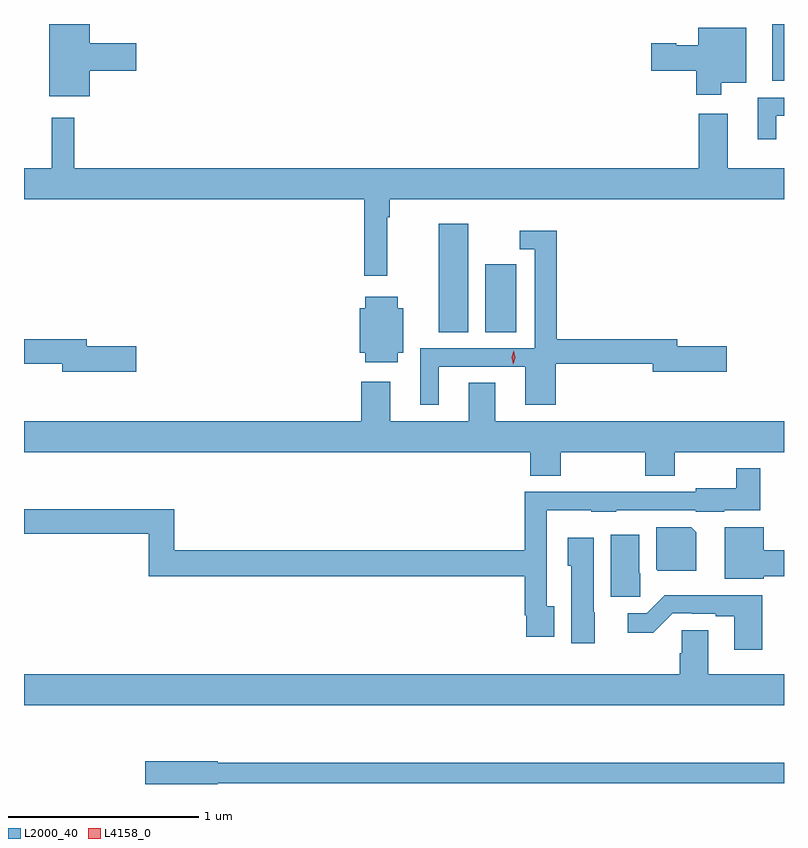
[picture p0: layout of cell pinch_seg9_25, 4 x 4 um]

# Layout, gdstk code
import gdstk
lib = gdstk.Library(unit=1e-6, precision=1e-09)
def R(c, l, rs):  # rectangles x0, y0, x1, y1
    for r in rs: c.add(gdstk.rectangle(r[:2], r[2:], *l))
def P(c, l, *ps):  # polygons
    for p in ps: c.add(gdstk.Polygon(p, *l))
L2000_40 = (2000, 40)
L4158_0 = (4158, 0)

pinch_seg9_25 = lib.new_cell('pinch_seg9_25')
R(pinch_seg9_25, L2000_40, [(939.221,1227.688,939.376,1228.258), (939.464,1227.688,939.628,1228.045), (940.976,1229.012,941.037,1229.31)])
P(pinch_seg9_25, L2000_40, [(937.384,1229.063),(937.627,1229.063),(937.627,1229.21),(937.384,1229.21),(937.384,1229.31),(937.169,1229.31),(937.169,1228.931),(937.384,1228.931)],
  [(940.708,1229),(940.837,1229),(940.837,1229.29),(940.586,1229.29),(940.586,1229.197),(940.47,1229.197),(940.47,1229.21),(940.338,1229.21),(940.338,1229.063),(940.574,1229.063),(940.574,1228.938),(940.708,1228.938)],
  [(940.996,1228.827),(941.037,1228.827),(941.037,1228.923),(940.898,1228.923),(940.898,1228.704),(940.996,1228.704)],
  [(938.948,1228.292),(938.963,1228.292),(938.963,1228.388),(941.037,1228.388),(941.037,1228.552),(940.741,1228.552),(940.741,1228.837),(940.589,1228.837),(940.589,1228.552),(937.301,1228.552),(937.301,1228.816),(937.184,1228.816),(937.184,1228.552),(937.037,1228.552),(937.037,1228.388),(938.827,1228.388),(938.827,1227.984),(938.948,1227.984)],
  [(939.22,1227.507),(939.674,1227.507),(939.674,1227.306),(939.836,1227.306),(939.836,1227.522),(940.346,1227.522),(940.346,1227.479),(940.735,1227.479),(940.735,1227.614),(940.474,1227.614),(940.474,1227.65),(939.842,1227.65),(939.842,1228.222),(939.645,1228.222),(939.645,1228.125),(939.726,1228.125),(939.726,1227.603),(939.122,1227.603),(939.122,1227.306),(939.22,1227.306)],
  [(939.004,1227.581),(939.034,1227.581),(939.034,1227.814),(939.004,1227.814),(939.004,1227.874),(938.834,1227.874),(938.834,1227.814),(938.804,1227.814),(938.804,1227.581),(938.834,1227.581),(938.834,1227.53),(939.004,1227.53)],
  [(937.627,1227.614),(937.366,1227.614),(937.366,1227.65),(937.037,1227.65),(937.037,1227.522),(937.238,1227.522),(937.238,1227.479),(937.627,1227.479)],
  [(939.861,1227.056),(940.306,1227.056),(940.306,1226.932),(940.461,1226.932),(940.461,1227.056),(941.037,1227.056),(941.037,1227.22),(939.517,1227.22),(939.517,1227.422),(939.377,1227.422),(939.377,1227.22),(938.965,1227.22),(938.965,1227.427),(938.813,1227.427),(938.813,1227.22),(937.037,1227.22),(937.037,1227.056),(939.701,1227.056),(939.701,1226.932),(939.861,1226.932)],
  [(939.829,1226.246),(939.789,1226.246),(939.789,1226.75),(940.023,1226.75),(940.023,1226.744),(940.155,1226.744),(940.155,1226.751),(940.572,1226.751),(940.572,1226.744),(940.722,1226.744),(940.722,1226.75),(940.913,1226.75),(940.913,1226.971),(940.785,1226.971),(940.785,1226.866),(940.572,1226.866),(940.572,1226.847),(940.155,1226.847),(940.155,1226.849),(939.923,1226.849),(939.923,1226.847),(939.673,1226.847),(939.673,1226.54),(937.829,1226.54),(937.829,1226.755),(937.037,1226.755),(937.037,1226.626),(937.693,1226.626),(937.693,1226.404),(939.673,1226.404),(939.673,1226.197),(939.681,1226.197),(939.681,1226.085),(939.829,1226.085)],
  [(940.576,1226.636),(940.55,1226.662),(940.364,1226.662),(940.364,1226.44),(940.372,1226.432),(940.576,1226.432)],
  [(940.93,1226.404),(941.037,1226.404),(941.037,1226.54),(940.93,1226.54),(940.93,1226.662),(940.724,1226.662),(940.724,1226.39),(940.93,1226.39)],
  [(940.28,1226.418),(940.276,1226.418),(940.276,1226.623),(940.124,1226.623),(940.124,1226.295),(940.28,1226.295)],
  [(940.042,1226.214),(940.036,1226.214),(940.036,1226.605),(939.899,1226.605),(939.899,1226.46),(939.917,1226.46),(939.917,1226.052),(940.042,1226.052)],
  [(940.923,1226.303),(940.409,1226.303),(940.314,1226.208),(940.215,1226.208),(940.215,1226.106),(940.35,1226.106),(940.452,1226.208),(940.552,1226.208),(940.552,1226.205),(940.679,1226.205),(940.679,1226.193),(940.775,1226.193),(940.775,1226.016),(940.923,1226.016)],
  [(941.037,1225.888),(940.639,1225.888),(940.639,1226.12),(940.5,1226.12),(940.5,1225.998),(940.487,1225.998),(940.487,1225.888),(937.037,1225.888),(937.037,1225.724),(941.037,1225.724)],
  [(938.058,1225.314),(941.037,1225.314),(941.037,1225.423),(938.058,1225.423),(938.058,1225.431),(937.674,1225.431),(937.674,1225.31),(938.058,1225.31)])
P(pinch_seg9_25, L4158_0, [(939.612,1227.518),(939.612,1227.519),(939.604,1227.555),(939.615,1227.591),(939.615,1227.591),(939.615,1227.591),(939.623,1227.554),(939.612,1227.519)])

lib.write_gds('pinch_seg9_25.gds')
